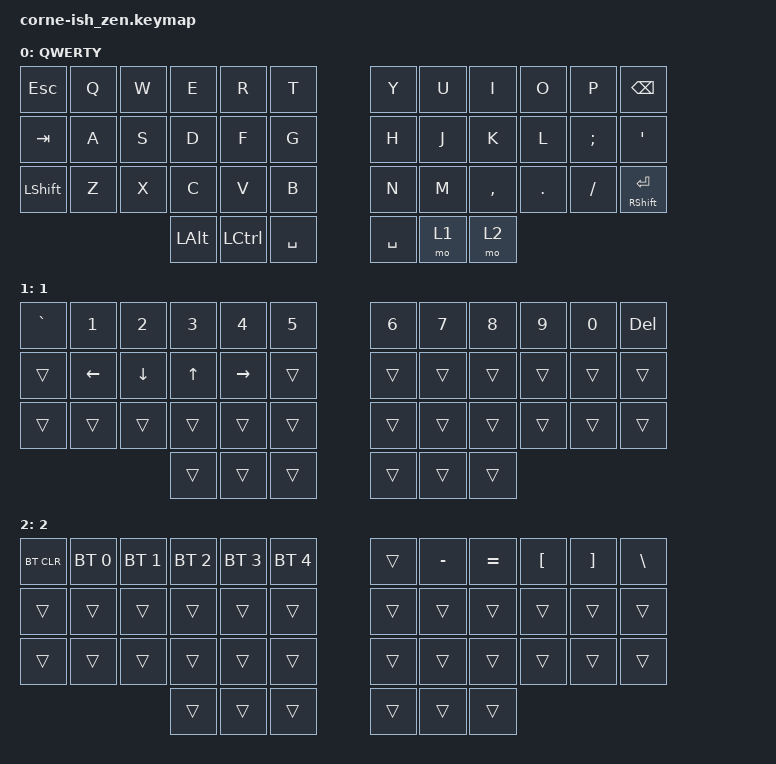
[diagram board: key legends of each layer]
/*
*
* Copyright (c) 2021 Darryl deHaan
* SPDX-License-Identifier: MIT
*
*/

#include <behaviors.dtsi>
#include <dt-bindings/zmk/keys.h>
#include <dt-bindings/zmk/bt.h>

/ {
        keymap {
                compatible = "zmk,keymap";

                default_layer {
                        label = "QWERTY";
// -----------------------------------------------------------------------------------------
// | ESC  |  Q  |  W  |  E  |  R  |  T  |   |  Y  |  U   |  I  |  O  |  P  | BKSP |
// | TAB  |  A  |  S  |  D  |  F  |  G  |   |  H  |  J   |  K  |  L  |  ;  |  '   |
// | SHFT |  Z  |  X  |  C  |  V  |  B  |   |  N  |  M   |  ,  |  .  |  /  | ENT  |
//                  | ALT |  CTRL | SPC |   | SPC | RSE  | LWR |

                        bindings = <
   &kp ESC   &kp Q &kp W &kp E &kp R &kp T       &kp Y &kp U  &kp I     &kp O   &kp P    &kp BSPC
   &kp TAB   &kp A &kp S &kp D &kp F &kp G       &kp H &kp J  &kp K     &kp L   &kp SEMI &kp SQT
   &kp LSHFT &kp Z &kp X &kp C &kp V &kp B       &kp N &kp M  &kp COMMA &kp DOT &kp FSLH &mt RSHFT RET
             &kp LALT    &kp LCTRL   &kp SPACE   &kp SPACE    &mo 1     &mo 2
                        >;
                };

                raise_layer {
                        label = "1";
// -----------------------------------------------------------------------------------------
// |   `  |  1  |  2  |  3  |  4  |  5  |   |  6  |  7  |  8  |  9  |  0  | DEL  |
// |      | LFT | DWN |  UP | RGT |     |   |     |     |     |     |     |      |
// |      |     |     |     |     |     |   |     |     |     |     |     |      |
//                    |     |     |     |   |     |     |     |
                        bindings = <
   &kp GRAVE &kp N1    &kp N2    &kp N3  &kp N4    &kp N5 &kp N6 &kp N7 &kp N8 &kp N9 &kp N0 &kp DEL
   &trans    &kp LEFT  &kp DOWN  &kp UP  &kp RIGHT &trans &trans &trans &trans &trans &trans &trans
   &trans    &trans    &trans    &trans  &trans    &trans &trans &trans &trans &trans &trans &trans
                       &trans    &trans  &trans    &trans &trans &trans
                        >;
                };

                lower_layer {
                        label = "2";
// -----------------------------------------------------------------------------------------
// | BTCLR|  BT1 | BT2 | BT3 | BT4 | BT5 |     |     |  - |  =  |  [  |  ]  |   \  |
// |      |      |     |     |     |     |     |     |    |     |     |     |      |
// |      |      |     |     |     |     |     |     |    |     |     |     |      |
//                     |     |     |     |     |     |    |     |
                        bindings = <
   &bt BT_CLR &bt BT_SEL 0 &bt BT_SEL 1 &bt BT_SEL 2 &bt BT_SEL 3 &bt BT_SEL 4         &trans   &kp MINUS &kp EQUAL &kp LBKT  &kp RBKT      &kp BSLH
   &trans     &trans       &trans       &trans       &trans       &trans               &trans   &trans    &trans    &trans    &trans        &trans
   &trans     &trans       &trans       &trans       &trans       &trans               &trans   &trans    &trans    &trans    &trans        &trans
                          	            &trans       &trans       &trans               &trans   &trans    &trans
                        >;
                };
        };
};
